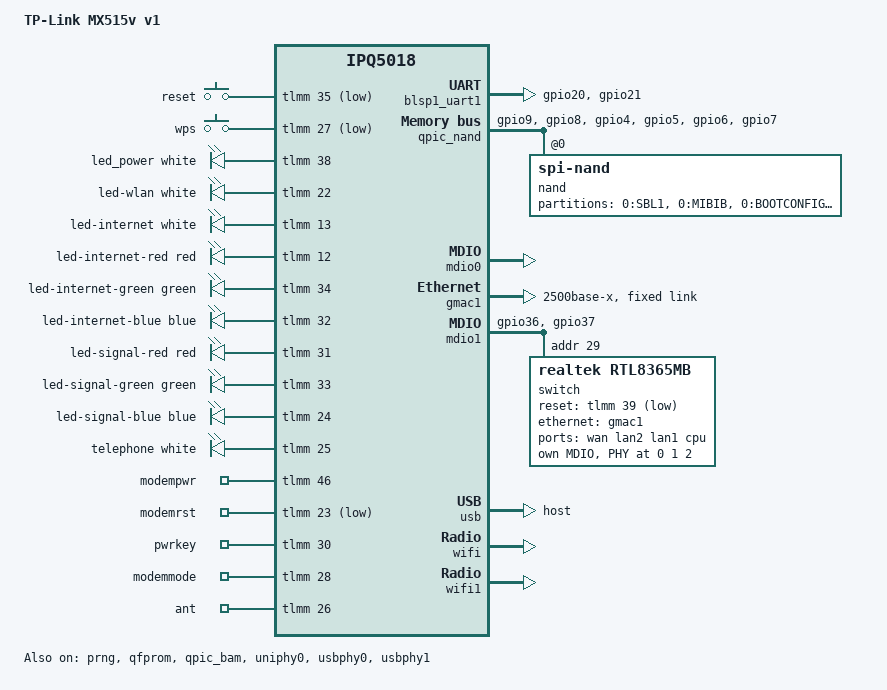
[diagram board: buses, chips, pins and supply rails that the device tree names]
// SPDX-License-Identifier: GPL-2.0-or-later OR MIT

/dts-v1/;

#include "ipq5018.dtsi"
#include "ipq5018-ess.dtsi"
#include "ipq5018-nss.dtsi"
#include "ipq5018-qcn6122.dtsi"

#include <dt-bindings/gpio/gpio.h>
#include <dt-bindings/input/input.h>
#include <dt-bindings/leds/common.h>

/ {
	model = "TP-Link MX515v v1";
	compatible = "tplink,mx515v-v1", "qcom,ipq5018";

	aliases {
		/*
		 * No label-mac-device: this board has no MAC in the device tree at
		 * all. 0:ART carries none, so it comes from the misc_ro UBIFS volume
		 * at runtime (mounted read-only by lib/preinit/09_mount_tp_data), see
		 * board.d/02_network, which also publishes the label address into
		 * board.json.
		 */
		led-boot = &led_power;
		led-failsafe = &led_power;
		led-running = &led_power;
		led-upgrade = &led_power;

		serial0 = &blsp1_uart1;
	};

	chosen {
		bootargs-append = " root=/dev/ubiblock0_1 coherent_pool=2M";
		stdout-path = "serial0:115200n8";
	};

	/* No gpio_fan node: MX515v has no fan (NX510v-only component). */

	keys {
		compatible = "gpio-keys";
		pinctrl-0 = <&button_pins>;
		pinctrl-names = "default";

		button-reset {
			label = "reset";
			gpios = <&tlmm 35 GPIO_ACTIVE_LOW>;
			linux,code = <KEY_RESTART>;
		};

		button-wps {
			label = "wps";
			gpios = <&tlmm 27 GPIO_ACTIVE_LOW>;
			linux,code = <KEY_WPS_BUTTON>;
		};
	};

	leds {
		compatible = "gpio-leds";
		pinctrl-0 = <&led_pins>;
		pinctrl-names = "default";

		led_power: led-power {
			color = <LED_COLOR_ID_WHITE>;
			function = LED_FUNCTION_POWER;
			gpios = <&tlmm 38 GPIO_ACTIVE_HIGH>;
		};

		led-wlan {
			color = <LED_COLOR_ID_WHITE>;
			function = LED_FUNCTION_WLAN;
			gpios = <&tlmm 22 GPIO_ACTIVE_HIGH>;
			linux,default-trigger = "network";
			mode = "link";
		};

		led-internet {
			color = <LED_COLOR_ID_WHITE>;
			function = LED_FUNCTION_WAN_ONLINE;
			gpios = <&tlmm 13 GPIO_ACTIVE_HIGH>;
		};

		led-internet-red {
			color = <LED_COLOR_ID_RED>;
			function = LED_FUNCTION_WAN_ONLINE;
			gpios = <&tlmm 12 GPIO_ACTIVE_HIGH>;
		};

		led-internet-green {
			color = <LED_COLOR_ID_GREEN>;
			function = LED_FUNCTION_WAN_ONLINE;
			gpios = <&tlmm 34 GPIO_ACTIVE_HIGH>;
		};

		led-internet-blue {
			color = <LED_COLOR_ID_BLUE>;
			function = LED_FUNCTION_WAN_ONLINE;
			gpios = <&tlmm 32 GPIO_ACTIVE_HIGH>;
		};

		led-signal-red {
			color = <LED_COLOR_ID_RED>;
			function = LED_FUNCTION_MOBILE;
			gpios = <&tlmm 31 GPIO_ACTIVE_HIGH>;
		};

		led-signal-green {
			color = <LED_COLOR_ID_GREEN>;
			function = LED_FUNCTION_MOBILE;
			gpios = <&tlmm 33 GPIO_ACTIVE_HIGH>;
		};

		led-signal-blue {
			color = <LED_COLOR_ID_BLUE>;
			function = LED_FUNCTION_MOBILE;
			gpios = <&tlmm 24 GPIO_ACTIVE_HIGH>;
		};

		led-telephone {
			color = <LED_COLOR_ID_WHITE>;
			label = "telephone";
			gpios = <&tlmm 25 GPIO_ACTIVE_HIGH>;
		};

	};

	gpio_export {
		compatible = "gpio-export";

		modem-power {
			gpio-export,name = "modempwr";
			gpio-export,output = <0>;
			gpios = <&tlmm 46 GPIO_ACTIVE_HIGH>;
		};

		modem-reset {
			gpio-export,name = "modemrst";
			gpio-export,output = <0>;
			gpios = <&tlmm 23 GPIO_ACTIVE_LOW>;
		};

		modem-pwrkey {
			gpio-export,name = "pwrkey";
			gpio-export,output = <1>;
			gpios = <&tlmm 30 GPIO_ACTIVE_HIGH>;
		};

		modem-mode {
			gpio-export,name = "modemmode";
			gpio-export,output = <0>;
			gpios = <&tlmm 28 GPIO_ACTIVE_HIGH>;
		};

		ant {
			gpio-export,name = "ant";
			gpio-export,output = <0>;
			gpios = <&tlmm 26 GPIO_ACTIVE_HIGH>;
		};
	};

	reserved-memory {
		q6_region_qcn6122_1: q6-region-qcn6122-1@4d200000 {
			reg = <0x0 0x4d200000 0x0 0xd00000>;
			no-map;
		};

		m3_dump_qcn6122_1: m3-dump-qcn6122-1@4df00000 {
			reg = <0x0 0x4df00000 0x0 0x100000>;
			no-map;
		};
	};
};

&sleep_clk {
	clock-frequency = <32000>;
};

&xo_board_clk {
	clock-div = <4>;
	clock-mult = <1>;
};

&blsp1_uart1 {
	pinctrl-0 = <&serial_0_pins>;
	pinctrl-names = "default";
	status = "okay";
};

&prng {
	status = "okay";
};

&qfprom {
	status = "okay";
};

&qpic_bam {
	status = "okay";
};

&qpic_nand {
	pinctrl-0 = <&qpic_pins>;
	pinctrl-names = "default";
	status = "okay";

	nand@0 {
		compatible = "spi-nand";
		reg = <0>;

		nand-ecc-engine = <&qpic_nand>;
		nand-ecc-strength = <8>;
		nand-ecc-step-size = <512>;
		nand-bus-width = <8>;

		partitions {
			compatible = "fixed-partitions";
			#address-cells = <1>;
			#size-cells = <1>;

			partition@0 {
				label = "0:SBL1";
				reg = <0x0 0x80000>;
				read-only;
			};

			partition@80000 {
				label = "0:MIBIB";
				reg = <0x80000 0x80000>;
				read-only;
			};

			partition@100000 {
				label = "0:BOOTCONFIG";
				reg = <0x100000 0x40000>;
				read-only;
			};

			partition@140000 {
				label = "0:BOOTCONFIG1";
				reg = <0x140000 0x40000>;
				read-only;
			};

			partition@180000 {
				label = "0:QSEE";
				reg = <0x180000 0x100000>;
				read-only;
			};

			partition@280000 {
				label = "0:QSEE_1";
				reg = <0x280000 0x100000>;
				read-only;
			};

			partition@380000 {
				label = "0:DEVCFG";
				reg = <0x380000 0x040000>;
				read-only;
			};

			partition@3c0000 {
				label = "0:DEVCFG_1";
				reg = <0x3c0000 0x040000>;
				read-only;
			};

			partition@400000 {
				label = "0:CDT";
				reg = <0x400000 0x040000>;
				read-only;
			};

			partition@440000 {
				label = "0:CDT_1";
				reg = <0x440000 0x040000>;
				read-only;
			};

			partition@480000 {
				label = "0:APPSBLENV";
				reg = <0x480000 0x080000>;
			};

			partition@500000 {
				label = "0:APPSBL";
				reg = <0x500000 0x140000>;
				read-only;
			};

			partition@640000 {
				label = "0:APPSBL_1";
				reg = <0x640000 0x140000>;
				read-only;
			};

			partition@780000 {
				label = "0:ART";
				reg = <0x780000 0x100000>;
				read-only;
			};

			partition@880000 {
				label = "0:TRAINING";
				reg = <0x880000 0x080000>;
				read-only;
			};

			partition@900000 {
				label = "misc_data_ro";
				reg = <0x900000 0xc00000>;
				read-only;
			};

			partition@1500000 {
				label = "misc_data_rw";
				reg = <0x1500000 0xc00000>;
			};

			partition@2100000 {
				label = "rootfs";
				reg = <0x2100000 0x2460000>;
			};

			partition@4560000 {
				label = "rootfs_1";
				reg = <0x4560000 0x2460000>;
			};

			partition@69c0000 {
				label = "lte_fwimage";
				reg = <0x69c0000 0x6400000>;
				read-only;
			};

			partition@cdc0000 {
				label = "misc_data_rwbak";
				reg = <0xcdc0000 0x0c00000>;
				read-only;
			};

			partition@d9c0000 {
				label = "misc_data_isp";
				reg = <0xd9c0000 0x0c00000>;
				read-only;
			};
		};
	};
};


/*
 * ===========================================================================
 * Ethernet:
 *
 *   IPQ5018 gmac1 -> uniphy0 PCS -> 2.5G SGMII trunk -> RTL8367S DSA switch
 *   Three front jacks, all RTL8367S internal PHYs:
 *     WAN = phy0 ("wan"), LAN1 = phy2 ("lan1"), LAN2 = phy1 ("lan2")
 *   The SoC's internal GE PHY (mdio0:7/gmac0) is NOT bonded out, so gmac0
 *   stays at its default disabled state.
 * ===========================================================================
 */

/*
 * mdio0 must stay enabled even though the GE PHY behind it is unused:
 * registering the ge_phy deasserts GCC_GEPHY_MISC_ARES, and that reset also
 * gates the MDC/MDIO path shared with mdio1. With mdio0 disabled the
 * RTL8367S on mdio1 stops responding to SMI entirely (chip id read
 * -ETIMEDOUT, measured on NX510v 2026-07-30; unverified on MX515v).
 */
&mdio0 {
	status = "okay";
};

&uniphy0 {
	status = "okay";

	assigned-clocks = <&uniphy0 UNIPHY_CLK_REF>;
	assigned-clock-rates = <UNIPHY_REFCLK_50MHZ>;
};

&gmac1 {
	status = "okay";

	phy-mode = "2500base-x";

	fixed-link {
		speed = <2500>;
		full-duplex;
	};
};

&mdio1 {
	status = "okay";

	pinctrl-0 = <&mdio1_pins>;
	pinctrl-names = "default";

	/*
	 * RTL8367S (OEM labels it "qca83xx"), MDIO-connected (realtek-mdio) at
	 * address 29. Reset is GPIO39 (reset-gpios below) - GPIO33 is unrelated,
	 * it drives the signal-green LED on this board, not any reset line.
	 *
	 * The reset line belongs on the switch node, not on the MDIO bus: on
	 * the bus node it is the MDIO core that drives it, with a 10 us pulse
	 * (DEFAULT_GPIO_RESET_DELAY) and no post-reset delay, immediately
	 * followed by the C22 bus scan. On the switch node the realtek driver
	 * owns it and gives the chip the 25 ms / 100 ms it expects before any
	 * register access.
	 */
	switch@29 {
		compatible = "realtek,rtl8365mb";
		reg = <29>;
		reset-gpios = <&tlmm 39 GPIO_ACTIVE_LOW>;

		/*
		 * The RTL8367S internal user-side MDIO bus. The DSA realtek
		 * driver (rtl83xx_setup_user_mdio) requires this child node -
		 * without it probe fails with "no MDIO bus node". wan, lan1 and
		 * lan2 hang off the switch's internal PHYs 0-2.
		 */
		mdio {
			compatible = "realtek,smi-mdio";
			#address-cells = <1>;
			#size-cells = <0>;

			switchphy0: ethernet-phy@0 {
				reg = <0>;
			};

			switchphy1: ethernet-phy@1 {
				reg = <1>;
			};

			switchphy2: ethernet-phy@2 {
				reg = <2>;
			};

		};

		ports {
			#address-cells = <1>;
			#size-cells = <0>;

			port@0 {
				reg = <0>;
				label = "wan";
				phy-handle = <&switchphy0>;
			};

			port@1 {
				reg = <1>;
				label = "lan2";
				phy-handle = <&switchphy1>;
			};

			port@2 {
				reg = <2>;
				label = "lan1";
				phy-handle = <&switchphy2>;
			};

			port@6 {
				reg = <6>;
				label = "cpu";
				ethernet = <&gmac1>;
				phy-mode = "2500base-x";

				fixed-link {
					speed = <2500>;
					full-duplex;
				};
			};
		};
	};
};

&tlmm {
	button_pins: button-pins {
		button-pins {
			pins = "gpio27", "gpio35";
			function = "gpio";
			drive-strength = <8>;
			bias-pull-up;
		};
	};

	led_pins: led-pins {
		pins = "gpio12", "gpio13", "gpio22", "gpio24", "gpio25", "gpio31", "gpio32", "gpio33", "gpio34", "gpio38";
		function = "gpio";
		drive-strength = <8>;
		bias-pull-down;
	};

	mdio1_pins: mdio-state {
		mdc-pins {
			pins = "gpio36";
			function = "mdc";
			drive-strength = <8>;
			bias-pull-up;
		};

		mdio-pins {
			pins = "gpio37";
			function = "mdio";
			drive-strength = <8>;
			bias-pull-up;
		};
	};

	qpic_pins: qpic-state {
		clock-pins {
			pins = "gpio9";
			function = "qspi_clk";
			drive-strength = <8>;
			bias-disable;
		};

		cs-pins {
			pins = "gpio8";
			function = "qspi_cs";
			drive-strength = <8>;
			bias-disable;
		};

		data-pins {
			pins = "gpio4", "gpio5", "gpio6", "gpio7";
			function = "qspi_data";
			drive-strength = <8>;
			bias-disable;
		};
	};

	serial_0_pins: uart0-state {
		pins = "gpio20", "gpio21";
		function = "blsp0_uart0";
		drive-strength = <8>;
		bias-disable;
	};
};

&usb {
	status = "okay";

	dr_mode = "host";
};

&usbphy0 {
	status = "okay";

};

/* the Quectel EG120K-EA modem enumerates at SuperSpeed */
&usbphy1 {
	status = "okay";

};

&q6v5_wcss {
	/* PCIe0, payload length 4, user-PD2, reset GPIO15. */
	boot-args = <0x1 4 2 15 0 0>;
};

&wifi {
	/* IPQ5018 2.4GHz */
	status = "okay";

	qcom,rproc = <&q6v5_wcss>;
	qcom,ath11k-calibration-variant = "TP-Link-MX515v";
	qcom,ath11k-fw-memory-mode = <2>;
};

&wifi1 {
	/* QCN6122 5GHz */
	status = "okay";

	qcom,rproc = <&q6v5_wcss>;
	qcom,ath11k-calibration-variant = "TP-Link-MX515v";
	qcom,ath11k-fw-memory-mode = <2>;

	memory-region = <&q6_region_qcn6122_1>, <&q6_region_ipq5018>, <&m3_dump_qcn6122_1>;
	memory-region-names = "q6-region", "m3-region", "m3-dump";
};
